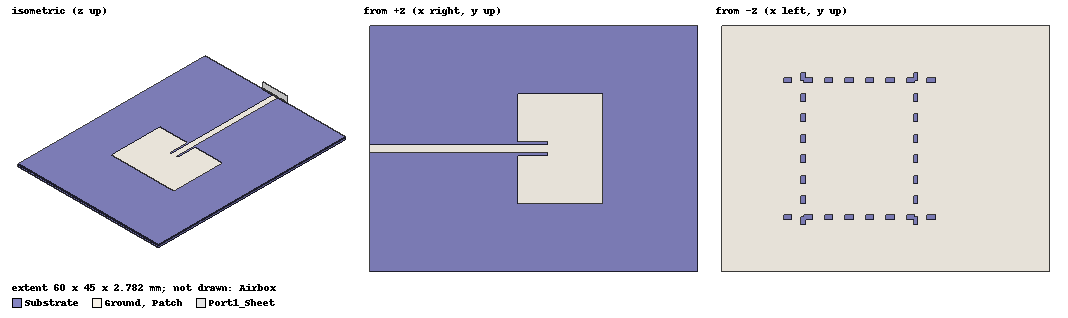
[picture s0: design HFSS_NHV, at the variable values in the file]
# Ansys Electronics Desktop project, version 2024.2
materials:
  vacuum: permittivity=1
  RO4350B: permittivity=3.48 permeability=1 dielectric_loss_tangent=0.0037
  pec: conductivity=1e+30
  air: permittivity=1.0006 permeability=1.0000004

design HFSS_NHV (HFSS, HFSS Terminal Network, model units mm)
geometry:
  Substrate [RO4350B] = box(corner=(-30mm, -22.5mm, 0mm), size=(60mm, 45mm, 0.762mm))
  Ground [pec] = rectangle(corner=(-30mm, -22.5mm, 0mm), x_size=60mm, y_size=45mm)
  Patch [pec] = rectangle(corner=(-2.99995mm, -10.01535mm, 0.762mm), x_size=15.5383mm, y_size=20.0307mm)
  Feed = rectangle(corner=(-30mm, -0.7991mm, 0.762mm), x_size=32.58775mm, y_size=1.5982mm)
  Patch.unite(Feed)
  TopCut_0_inset_gap_top = rectangle(corner=(-2.99995mm, 0.7991mm, 0.762mm), x_size=5.5877mm, y_size=0.4795mm)
  TopCut_1_inset_gap_bottom = rectangle(corner=(-2.99995mm, -1.2786mm, 0.762mm), x_size=5.5877mm, y_size=0.4795mm)
  Patch.subtract(TopCut_0_inset_gap_top, TopCut_1_inset_gap_bottom)
  GroundCut_0_ebg_0 = rectangle(corner=(-9.1246338mm, -12.937523mm, 0mm), x_size=1.5444843mm, y_size=0.84434684mm)
  GroundCut_1_ebg_1 = rectangle(corner=(-5.3756076mm, -12.937523mm, 0mm), x_size=1.5444843mm, y_size=0.84434684mm)
  GroundCut_2_ebg_2 = rectangle(corner=(-1.6265814mm, -12.937523mm, 0mm), x_size=1.5444843mm, y_size=0.84434684mm)
  GroundCut_3_ebg_3 = rectangle(corner=(2.1224448mm, -12.937523mm, 0mm), x_size=1.5444843mm, y_size=0.84434684mm)
  GroundCut_4_ebg_4 = rectangle(corner=(5.871471mm, -12.937523mm, 0mm), x_size=1.5444843mm, y_size=0.84434684mm)
  GroundCut_5_ebg_5 = rectangle(corner=(9.6204972mm, -12.937523mm, 0mm), x_size=1.5444843mm, y_size=0.84434684mm)
  GroundCut_6_ebg_6 = rectangle(corner=(13.369523mm, -12.937523mm, 0mm), x_size=1.5444843mm, y_size=0.84434684mm)
  GroundCut_7_ebg_7 = rectangle(corner=(17.11855mm, -12.937523mm, 0mm), x_size=1.5444843mm, y_size=0.84434684mm)
  GroundCut_8_ebg_8 = rectangle(corner=(-9.1246338mm, 12.093177mm, 0mm), x_size=1.5444843mm, y_size=0.84434684mm)
  GroundCut_9_ebg_9 = rectangle(corner=(-5.3756076mm, 12.093177mm, 0mm), x_size=1.5444843mm, y_size=0.84434684mm)
  GroundCut_10_ebg_10 = rectangle(corner=(-1.6265814mm, 12.093177mm, 0mm), x_size=1.5444843mm, y_size=0.84434684mm)
  GroundCut_11_ebg_11 = rectangle(corner=(2.1224448mm, 12.093177mm, 0mm), x_size=1.5444843mm, y_size=0.84434684mm)
  GroundCut_12_ebg_12 = rectangle(corner=(5.871471mm, 12.093177mm, 0mm), x_size=1.5444843mm, y_size=0.84434684mm)
  GroundCut_13_ebg_13 = rectangle(corner=(9.6204972mm, 12.093177mm, 0mm), x_size=1.5444843mm, y_size=0.84434684mm)
  GroundCut_14_ebg_14 = rectangle(corner=(13.369523mm, 12.093177mm, 0mm), x_size=1.5444843mm, y_size=0.84434684mm)
  GroundCut_15_ebg_15 = rectangle(corner=(17.11855mm, 12.093177mm, 0mm), x_size=1.5444843mm, y_size=0.84434684mm)
  GroundCut_16_ebg_16 = rectangle(corner=(-5.9221234mm, -13.893834mm, 0mm), x_size=0.84434684mm, y_size=1.5444843mm)
  GroundCut_17_ebg_17 = rectangle(corner=(-5.9221234mm, -10.144808mm, 0mm), x_size=0.84434684mm, y_size=1.5444843mm)
  GroundCut_18_ebg_18 = rectangle(corner=(-5.9221234mm, -6.3957814mm, 0mm), x_size=0.84434684mm, y_size=1.5444843mm)
  GroundCut_19_ebg_19 = rectangle(corner=(-5.9221234mm, -2.6467552mm, 0mm), x_size=0.84434684mm, y_size=1.5444843mm)
  GroundCut_20_ebg_20 = rectangle(corner=(-5.9221234mm, 1.102271mm, 0mm), x_size=0.84434684mm, y_size=1.5444843mm)
  GroundCut_21_ebg_21 = rectangle(corner=(-5.9221234mm, 4.8512972mm, 0mm), x_size=0.84434684mm, y_size=1.5444843mm)
  GroundCut_22_ebg_22 = rectangle(corner=(-5.9221234mm, 8.6003234mm, 0mm), x_size=0.84434684mm, y_size=1.5444843mm)
  GroundCut_23_ebg_23 = rectangle(corner=(-5.9221234mm, 12.34935mm, 0mm), x_size=0.84434684mm, y_size=1.5444843mm)
  GroundCut_24_ebg_24 = rectangle(corner=(14.616177mm, -13.893834mm, 0mm), x_size=0.84434684mm, y_size=1.5444843mm)
  GroundCut_25_ebg_25 = rectangle(corner=(14.616177mm, -10.144808mm, 0mm), x_size=0.84434684mm, y_size=1.5444843mm)
  GroundCut_26_ebg_26 = rectangle(corner=(14.616177mm, -6.3957814mm, 0mm), x_size=0.84434684mm, y_size=1.5444843mm)
  GroundCut_27_ebg_27 = rectangle(corner=(14.616177mm, -2.6467552mm, 0mm), x_size=0.84434684mm, y_size=1.5444843mm)
  GroundCut_28_ebg_28 = rectangle(corner=(14.616177mm, 1.102271mm, 0mm), x_size=0.84434684mm, y_size=1.5444843mm)
  GroundCut_29_ebg_29 = rectangle(corner=(14.616177mm, 4.8512972mm, 0mm), x_size=0.84434684mm, y_size=1.5444843mm)
  GroundCut_30_ebg_30 = rectangle(corner=(14.616177mm, 8.6003234mm, 0mm), x_size=0.84434684mm, y_size=1.5444843mm)
  GroundCut_31_ebg_31 = rectangle(corner=(14.616177mm, 12.34935mm, 0mm), x_size=0.84434684mm, y_size=1.5444843mm)
  Ground.subtract(GroundCut_0_ebg_0, GroundCut_1_ebg_1, GroundCut_2_ebg_2, GroundCut_3_ebg_3, GroundCut_4_ebg_4, GroundCut_5_ebg_5, GroundCut_6_ebg_6, GroundCut_7_ebg_7, GroundCut_8_ebg_8, GroundCut_9_ebg_9, GroundCut_10_ebg_10, GroundCut_11_ebg_11, GroundCut_12_ebg_12, GroundCut_13_ebg_13, GroundCut_14_ebg_14, GroundCut_15_ebg_15, GroundCut_16_ebg_16, GroundCut_17_ebg_17, GroundCut_18_ebg_18, GroundCut_19_ebg_19, GroundCut_20_ebg_20, GroundCut_21_ebg_21, GroundCut_22_ebg_22, GroundCut_23_ebg_23, GroundCut_24_ebg_24, GroundCut_25_ebg_25, GroundCut_26_ebg_26, GroundCut_27_ebg_27, GroundCut_28_ebg_28, GroundCut_29_ebg_29, GroundCut_30_ebg_30, GroundCut_31_ebg_31)
  Airbox [air] = box(corner=(-30mm, -42.5mm, -20mm), size=(80mm, 85mm, 40.762mm))
  Port1_Sheet = rectangle(corner=(-30mm, -3.9955mm, -0.02mm), y_size=7.991mm, z_size=2.782mm)
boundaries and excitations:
  Copper_PEC: Perfect E Objects=[Ground, Patch]
  Radiation: Radiation Objects=Airbox
  Port1: Wave Port Objects=Port1_Sheet WavePortType=Modal NumModes=1 Modes{Mode1{CharImp=Zpi RenormImp=50ohm}}
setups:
  Setup1: HfssDriven Frequency=5GHz MaxDeltaS=0.02 MaximumPasses=10 MinimumPasses=1 MinimumConvergedPasses=1 PercentRefinement=30 BasisOrder=1 PortAccuracy=2 DrivenSolverType="Direct Solver"
    sweep Sweep_4_6GHz: 4GHz to 6GHz, 101 points; Type=Interpolating SaveRadFields InterpTolerance=0.5 InterpMaxSolns=250 InterpUsePortImped=false PassivityErrorTolerance=0.0001
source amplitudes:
  Port1:1: 1V 0deg
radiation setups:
  InfiniteSphere_EH_Cuts: Infinite Sphere Theta=-180deg..180deg step 1deg Phi=-90deg..90deg step 90deg
